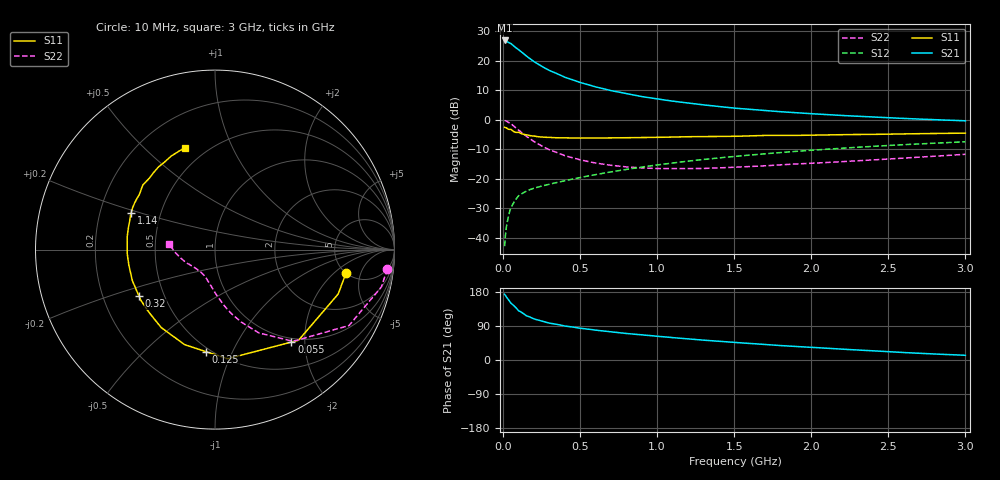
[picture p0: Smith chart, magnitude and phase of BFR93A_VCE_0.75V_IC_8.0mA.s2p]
! Infineon Technologies  Discrete & RF Semiconductors
! BFR93A
! VCE = 0.75 V,  IC =  8.0 mA
! Common Emitter S-Parameters:  Nov 2015
# GHz  S  MA  R  50
!  f  S11  S21  S12  S22
! GHz  MAG  ANG  MAG  ANG  MAG  ANG  MAG  ANG
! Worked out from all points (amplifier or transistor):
!   180 points, 10 MHz to 3 GHz, reference 50 ohm
!   highest |S21| = 26.8 dB at 10 MHz (marker M1)
!   |S21| within 3 dB of that: start of sweep to 97.53 MHz
!   unconditionally stable (mu >= 1): 562 MHz to end of sweep
!   at 160 MHz: K = 0.47, MSG = 22.6 dB, |S12| = -24.0 dB
!   at 1.22 GHz: K = 1.13, MAG = 7.5 dB, |S12| = -13.9 dB
!   at 3 GHz: K = 1.05, MAG = 2.2 dB, |S12| = -7.5 dB
!   S11 on the Smith chart (normalised r, x): 10 MHz: 5.01, -2.90; 55 MHz: 0.93, -1.73; 125 MHz: 0.47, -0.80; 320 MHz: 0.36, -0.25; 1.14 GHz: 0.34, +0.19; 3 GHz: 0.39, +0.67
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0.01  0.7416 -10.1  21.9 173.4  0.0072 85.2  0.9661 -6.4
0.02  0.7297 -19.8  21.52 167.1  0.0143 79.5  0.9504 -12.6
0.025  0.7116 -24.1  21.06 164.5  0.0172 75.9  0.9298 -15.2
0.05  0.6868 -47.3  19.49 150.3  0.0321 68.0  0.8585 -29.5
0.055  0.6685 -50.4  18.99 148.7  0.0339 66.1  0.836 -31.1
0.1  0.612 -83.4  15.35 130.2  0.0513 55.1  0.6708 -49.6
0.125  0.5709 -95.0  13.57 124.5  0.0564 51.9  0.5944 -55.1
0.15  0.5559 -107.7  11.96 117.1  0.0616 49.2  0.5251 -62.2
0.2  0.5277 -124.6  9.628 108.5  0.069 47.1  0.4263 -70.4
0.26  0.5051 -138.5  7.747 101.3  0.0759 46.9  0.3477 -77.5
0.3  0.5005 -145.8  6.812 97.3  0.0805 47.4  0.3091 -81.4
0.32  0.4965 -148.5  6.487 96.1  0.0828 47.8  0.296 -82.7
0.4  0.4919 -159.5  5.228 89.7  0.0922 49.3  0.2456 -89.2
0.52  0.4874 -171.3  4.119 82.9  0.1071 51.3  0.2035 -96.1
0.7  0.4902 176.6  3.104 74.1  0.1303 53.2  0.1687 -106.1
0.9  0.4976 166.3  2.457 66.3  0.1571 53.9  0.1521 -116.6
1.02  0.5019 161.1  2.2 61.9  0.1736 53.7  0.1484 -122.0
1.14  0.5098 156.4  1.997 57.8  0.1899 53.3  0.1481 -127.8
1.52  0.523 143.4  1.552 45.9  0.2408 50.6  0.1571 -143.7
2.02  0.5476 129.1  1.251 32.9  0.3056 45.6  0.1834 -159.8
2.52  0.5691 117.5  1.071 21.6  0.3673 39.3  0.2167 -174.0
3  0.5906 106.3  0.955 12.4  0.4221 32.6  0.2591 172.5
